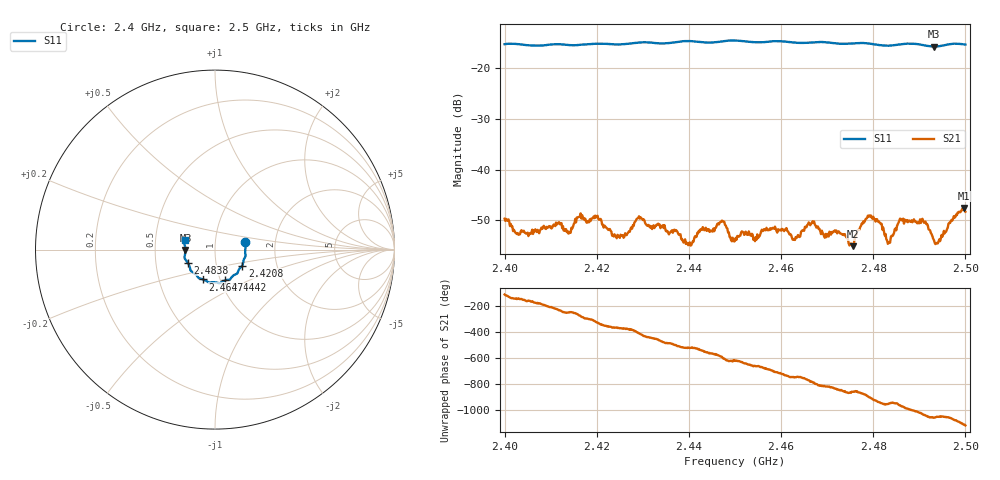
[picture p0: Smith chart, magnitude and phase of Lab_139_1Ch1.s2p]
# Hz S RI R 50
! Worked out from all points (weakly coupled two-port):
!   601 points, 2.4 GHz to 2.5 GHz, reference 50 ohm
!   highest |S21| = -47.62 dB at 2.4997 GHz (marker M1); lowest = -55.2 dB at 2.4757 GHz (marker M2)
!   lowest |S11| = -15.7 dB at 2.4932 GHz (marker M3), VSWR 1.39, Z = 35.8 - j0.127 ohm
!   |S11| at or under -10 dB: start of sweep to end of sweep
!   S12 and S22 are empty: the file has one direction only
!   S11 on the Smith chart (normalised r, x): 2.4 GHz: 1.40, +0.12; 2.4208 GHz: 1.33, -0.24; 2.4442 GHz: 1.05, -0.37; 2.4647 GHz: 0.83, -0.28; 2.4838 GHz: 0.73, -0.11; 2.5 GHz: 0.71, +0.08
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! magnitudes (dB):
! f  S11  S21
! 2.4 GHz  -15.2  -49.7
! 2.4052 GHz  -15.4  -53.2
! 2.4167 GHz  -15.3  -49.7
! 2.4208 GHz  -15.1  -49.8
! 2.4245 GHz  -15.2  -52.9
! 2.4292 GHz  -14.9  -49.3
! 2.4333 GHz  -15.0  -50.7
! 2.4402 GHz  -14.6  -54.4
! 2.4442 GHz  -14.9  -52.1
! 2.4472 GHz  -14.6  -50.1
! 2.45 GHz  -14.5  -54.1
! 2.4647 GHz  -14.9  -52.0
! 2.4667 GHz  -14.8  -50.6
! 2.4757 GHz  -15.0  -55.2
! 2.4792 GHz  -15.1  -49.1
! 2.4833 GHz  -15.5  -54.6
! 2.4838 GHz  -15.5  -53.3
! 2.4863 GHz  -15.2  -50.0
! 2.491 GHz  -15.4  -50.5
! 2.4932 GHz  -15.7  -54.0
! 2.4997 GHz  -15.2  -47.6
! 2.5 GHz  -15.3  -48.3
